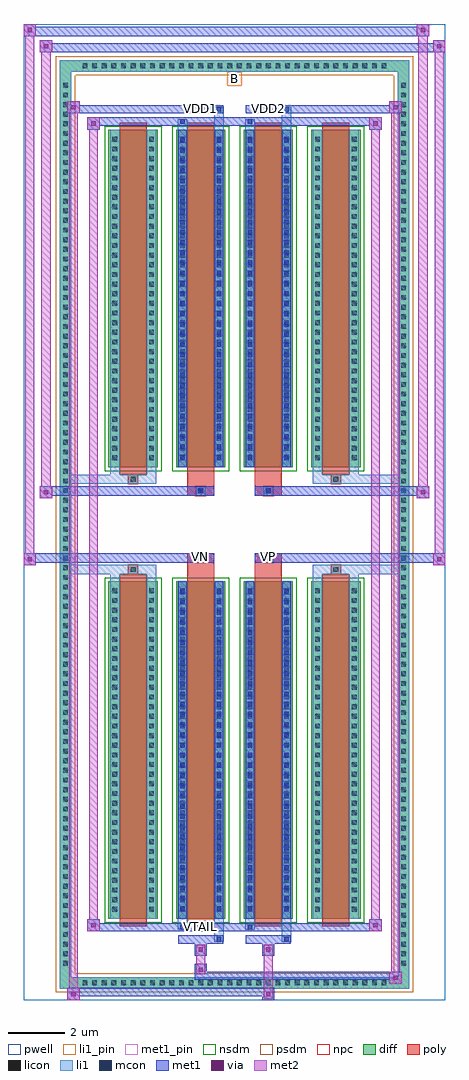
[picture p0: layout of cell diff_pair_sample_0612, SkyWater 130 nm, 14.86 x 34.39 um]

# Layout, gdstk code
import gdstk
lib = gdstk.Library(unit=1e-6, precision=5e-09)
def R(c, l, rs):  # rectangles x0, y0, x1, y1
    for r in rs: c.add(gdstk.rectangle(r[:2], r[2:], *l))
def A(c, l, x, y, w, h, nx, ny, dx, dy):  # array of equal rectangles
    R(c, l, [(x+i*dx, y+j*dy, x+i*dx+w, y+j*dy+h) for i in range(nx) for j in range(ny)])
def P(c, l, *ps):  # polygons
    for p in ps: c.add(gdstk.Polygon(p, *l))
pwell = (64, 44)
diff = (65, 20)
poly = (66, 20)
licon = (66, 44)
li1_pin = (67, 16)
li1 = (67, 20)
mcon = (67, 44)
met1_pin = (68, 16)
met1 = (68, 20)
via = (68, 44)
met2 = (69, 20)
nsdm = (93, 44)
psdm = (94, 20)
npc = (95, 20)

diff_pair_sample_0612 = lib.new_cell('diff_pair_sample_0612')
R(diff_pair_sample_0612, pwell, [(-7.43,-16.76,7.43,17.63), (-4.75,-14.95,-0.01,-0.815), (0.01,-14.95,4.75,-0.815), (-4.75,0.815,-0.01,14.95), (0.01,0.815,4.75,14.95)])
A(diff_pair_sample_0612, diff, -5.475, -16.36, 0.41, 0.41, 32, 2, 0.34, 32.31)
A(diff_pair_sample_0612, diff, -6.16, -15.675, 0.41, 0.41, 1, 92, 0, 0.34)
A(diff_pair_sample_0612, diff, 5.75, -15.675, 0.41, 0.41, 1, 92, 0, 0.34)
A(diff_pair_sample_0612, diff, -4.44, -13.905, 1.74, 11.9, 4, 2, 2.38, 15.91)
R(diff_pair_sample_0612, diff, [(-5.475,-16.36,5.475,-15.95), (-6.16,-15.675,-5.75,15.675), (5.75,-15.675,6.16,15.675), (-5.475,15.95,5.475,16.36)])
P(diff_pair_sample_0612, diff, [(6.16,16.36),(-6.16,16.36),(-6.16,-15.95),(-5.75,-15.95),(-5.75,15.95),(5.75,15.95),(5.75,-15.95),(-5.75,-15.95),(-6.16,-15.95),(-6.16,-16.36),(6.16,-16.36)])
A(diff_pair_sample_0612, poly, -4.05, -14.155, 0.96, 12.4, 4, 2, 2.38, 15.91)
R(diff_pair_sample_0612, poly, [(-3.735,-1.755,-3.405,-1.425), (-3.735,-1.755,-3.405,-1.425), (-1.67,-1.755,-0.71,-1.345), (0.71,-1.755,1.67,-1.345), (3.405,-1.755,3.735,-1.425), (3.405,-1.755,3.735,-1.425), (-1.67,-1.345,-0.71,-1.015), (-1.355,-1.345,-1.025,-1.015), (0.71,-1.345,1.67,-1.015), (1.025,-1.345,1.355,-1.015), (-1.67,1.015,-0.71,1.345), (-1.355,1.015,-1.025,1.345), (0.71,1.015,1.67,1.345), (1.025,1.015,1.355,1.345), (-1.67,1.345,-0.71,1.755), (0.71,1.345,1.67,1.755), (-3.735,1.425,-3.405,1.755), (-3.735,1.425,-3.405,1.755), (3.405,1.425,3.735,1.755), (3.405,1.425,3.735,1.755)])
A(diff_pair_sample_0612, licon, -5.355, -16.24, 0.17, 0.17, 32, 2, 0.34, 32.31)
A(diff_pair_sample_0612, licon, -6.04, -15.555, 0.17, 0.17, 1, 92, 0, 0.34)
A(diff_pair_sample_0612, licon, 5.87, -15.555, 0.17, 0.17, 1, 92, 0, 0.34)
A(diff_pair_sample_0612, licon, -4.3, -13.65, 0.17, 0.17, 1, 34, 0, 0.34)
A(diff_pair_sample_0612, licon, -3.01, -13.65, 0.17, 0.17, 1, 34, 0, 0.34)
A(diff_pair_sample_0612, licon, -1.92, -13.65, 0.17, 0.17, 1, 34, 0, 0.34)
A(diff_pair_sample_0612, licon, -0.63, -13.65, 0.17, 0.17, 1, 34, 0, 0.34)
A(diff_pair_sample_0612, licon, 0.46, -13.65, 0.17, 0.17, 1, 34, 0, 0.34)
A(diff_pair_sample_0612, licon, 1.75, -13.65, 0.17, 0.17, 1, 34, 0, 0.34)
A(diff_pair_sample_0612, licon, 2.84, -13.65, 0.17, 0.17, 1, 34, 0, 0.34)
A(diff_pair_sample_0612, licon, 4.13, -13.65, 0.17, 0.17, 1, 34, 0, 0.34)
A(diff_pair_sample_0612, licon, -4.3, 2.26, 0.17, 0.17, 1, 34, 0, 0.34)
A(diff_pair_sample_0612, licon, -3.01, 2.26, 0.17, 0.17, 1, 34, 0, 0.34)
A(diff_pair_sample_0612, licon, -1.92, 2.26, 0.17, 0.17, 1, 34, 0, 0.34)
A(diff_pair_sample_0612, licon, -0.63, 2.26, 0.17, 0.17, 1, 34, 0, 0.34)
A(diff_pair_sample_0612, licon, 0.46, 2.26, 0.17, 0.17, 1, 34, 0, 0.34)
A(diff_pair_sample_0612, licon, 1.75, 2.26, 0.17, 0.17, 1, 34, 0, 0.34)
A(diff_pair_sample_0612, licon, 2.84, 2.26, 0.17, 0.17, 1, 34, 0, 0.34)
A(diff_pair_sample_0612, licon, 4.13, 2.26, 0.17, 0.17, 1, 34, 0, 0.34)
R(diff_pair_sample_0612, licon, [(-3.655,-1.675,-3.485,-1.505), (3.485,-1.675,3.655,-1.505), (-1.275,-1.265,-1.105,-1.095), (1.105,-1.265,1.275,-1.095), (-1.275,1.095,-1.105,1.265), (1.105,1.095,1.275,1.265), (-3.655,1.505,-3.485,1.675), (3.485,1.505,3.655,1.675)])
R(diff_pair_sample_0612, li1_pin, [(-0.25,15.45,0.25,15.95)])
A(diff_pair_sample_0612, li1, -5.435, -16.32, 0.33, 0.33, 32, 2, 0.34, 32.31)
A(diff_pair_sample_0612, li1, -6.12, -15.635, 0.33, 0.33, 1, 92, 0, 0.34)
A(diff_pair_sample_0612, li1, 5.79, -15.635, 0.33, 0.33, 1, 92, 0, 0.34)
A(diff_pair_sample_0612, li1, -4.38, -13.73, 0.33, 0.33, 1, 34, 0, 0.34)
A(diff_pair_sample_0612, li1, -3.09, -13.73, 0.33, 0.33, 1, 34, 0, 0.34)
A(diff_pair_sample_0612, li1, -2, -13.73, 0.33, 0.33, 1, 34, 0, 0.34)
A(diff_pair_sample_0612, li1, -0.71, -13.73, 0.33, 0.33, 1, 34, 0, 0.34)
A(diff_pair_sample_0612, li1, 0.38, -13.73, 0.33, 0.33, 1, 34, 0, 0.34)
A(diff_pair_sample_0612, li1, 1.67, -13.73, 0.33, 0.33, 1, 34, 0, 0.34)
A(diff_pair_sample_0612, li1, 2.76, -13.73, 0.33, 0.33, 1, 34, 0, 0.34)
A(diff_pair_sample_0612, li1, 4.05, -13.73, 0.33, 0.33, 1, 34, 0, 0.34)
A(diff_pair_sample_0612, li1, -1.92, -13.62, 0.17, 0.17, 1, 32, 0, 0.36)
A(diff_pair_sample_0612, li1, -0.63, -13.62, 0.17, 0.17, 1, 32, 0, 0.36)
A(diff_pair_sample_0612, li1, 0.46, -13.62, 0.17, 0.17, 1, 32, 0, 0.36)
A(diff_pair_sample_0612, li1, 1.75, -13.62, 0.17, 0.17, 1, 32, 0, 0.36)
A(diff_pair_sample_0612, li1, -4.38, 2.18, 0.33, 0.33, 1, 34, 0, 0.34)
A(diff_pair_sample_0612, li1, -3.09, 2.18, 0.33, 0.33, 1, 34, 0, 0.34)
A(diff_pair_sample_0612, li1, -2, 2.18, 0.33, 0.33, 1, 34, 0, 0.34)
A(diff_pair_sample_0612, li1, -0.71, 2.18, 0.33, 0.33, 1, 34, 0, 0.34)
A(diff_pair_sample_0612, li1, 0.38, 2.18, 0.33, 0.33, 1, 34, 0, 0.34)
A(diff_pair_sample_0612, li1, 1.67, 2.18, 0.33, 0.33, 1, 34, 0, 0.34)
A(diff_pair_sample_0612, li1, 2.76, 2.18, 0.33, 0.33, 1, 34, 0, 0.34)
A(diff_pair_sample_0612, li1, 4.05, 2.18, 0.33, 0.33, 1, 34, 0, 0.34)
A(diff_pair_sample_0612, li1, -1.92, 2.29, 0.17, 0.17, 1, 32, 0, 0.36)
A(diff_pair_sample_0612, li1, -0.63, 2.29, 0.17, 0.17, 1, 32, 0, 0.36)
A(diff_pair_sample_0612, li1, 0.46, 2.29, 0.17, 0.17, 1, 32, 0, 0.36)
A(diff_pair_sample_0612, li1, 1.75, 2.29, 0.17, 0.17, 1, 32, 0, 0.36)
R(diff_pair_sample_0612, li1, [(-6.16,-16.36,-5.75,-15.95), (-6.16,-16.36,-5.75,-15.95), (-5.75,-16.36,5.75,-15.95), (5.75,-16.36,6.16,-15.95), (5.75,-16.36,6.16,-15.95), (-6.16,-15.95,-5.75,15.95), (5.75,-15.95,6.16,15.95), (-0.71,-14.71,-0.38,-13.905), (-0.63,-14.71,-0.46,-14.54), (1.67,-14.71,2,-13.905), (1.75,-14.71,1.92,-14.54), (-2,-14.28,-1.67,-13.905), (-1.92,-14.28,-1.75,-14.11), (0.38,-14.28,0.71,-13.905), (0.46,-14.28,0.63,-14.11), (-4.38,-13.905,-4.05,-2.005), (-3.09,-13.905,-2.76,-2.005), (-2,-13.905,-1.67,-2.005), (-0.71,-13.905,-0.38,-2.005), (0.38,-13.905,0.71,-2.005), (1.67,-13.905,2,-2.005), (2.76,-13.905,3.09,-2.005), (4.05,-13.905,4.38,-2.005), (-1.92,-13.62,-1.75,-2.29), (-0.63,-13.62,-0.46,-2.29), (0.46,-13.62,0.63,-2.29), (1.75,-13.62,1.92,-2.29), (-4.38,-2.005,-4.05,-1.425), (-3.09,-2.005,-2.76,-1.425), (2.76,-2.005,3.09,-1.425), (4.05,-2.005,4.38,-1.425), (-6.16,-1.755,-3.735,-1.425), (-4.38,-1.755,-3.735,-1.425), (-3.735,-1.755,-3.405,-1.425), (-3.405,-1.755,-2.76,-1.425), (2.76,-1.755,3.405,-1.425), (3.405,-1.755,3.735,-1.425), (3.405,-1.755,6.16,-1.425), (3.735,-1.755,4.38,-1.425), (-1.355,-1.345,-1.025,-1.015), (1.025,-1.345,1.355,-1.015), (-1.355,1.015,-1.025,1.345), (1.025,1.015,1.355,1.345), (-6.16,1.425,-3.735,1.755), (-4.38,1.425,-3.735,1.755), (-4.38,1.425,-4.05,2.005), (-3.735,1.425,-3.405,1.755), (-3.405,1.425,-2.76,1.755), (-3.09,1.425,-2.76,2.005), (2.76,1.425,3.405,1.755), (2.76,1.425,3.09,2.005), (3.405,1.425,3.735,1.755), (3.405,1.425,6.16,1.755), (3.735,1.425,4.38,1.755), (4.05,1.425,4.38,2.005), (-4.38,2.005,-4.05,13.905), (-3.09,2.005,-2.76,13.905), (-2,2.005,-1.67,13.905), (-0.71,2.005,-0.38,13.905), (0.38,2.005,0.71,13.905), (1.67,2.005,2,13.905), (2.76,2.005,3.09,13.905), (4.05,2.005,4.38,13.905), (-1.92,2.29,-1.75,13.62), (-0.63,2.29,-0.46,13.62), (0.46,2.29,0.63,13.62), (1.75,2.29,1.92,13.62), (-2,13.905,-1.67,14.28), (-0.71,13.905,-0.38,14.71), (0.38,13.905,0.71,14.28), (1.67,13.905,2,14.71), (-1.92,14.11,-1.75,14.28), (0.46,14.11,0.63,14.28), (-0.63,14.54,-0.46,14.71), (1.75,14.54,1.92,14.71), (-6.16,15.95,-5.75,16.36), (-6.16,15.95,-5.75,16.36), (-5.75,15.95,5.75,16.36), (5.75,15.95,6.16,16.36), (5.75,15.95,6.16,16.36)])
A(diff_pair_sample_0612, mcon, -1.92, -13.62, 0.17, 0.17, 1, 32, 0, 0.36)
A(diff_pair_sample_0612, mcon, -0.63, -13.62, 0.17, 0.17, 1, 32, 0, 0.36)
A(diff_pair_sample_0612, mcon, 0.46, -13.62, 0.17, 0.17, 1, 32, 0, 0.36)
A(diff_pair_sample_0612, mcon, 1.75, -13.62, 0.17, 0.17, 1, 32, 0, 0.36)
A(diff_pair_sample_0612, mcon, -1.92, 2.29, 0.17, 0.17, 1, 32, 0, 0.36)
A(diff_pair_sample_0612, mcon, -0.63, 2.29, 0.17, 0.17, 1, 32, 0, 0.36)
A(diff_pair_sample_0612, mcon, 0.46, 2.29, 0.17, 0.17, 1, 32, 0, 0.36)
A(diff_pair_sample_0612, mcon, 1.75, 2.29, 0.17, 0.17, 1, 32, 0, 0.36)
R(diff_pair_sample_0612, mcon, [(-0.63,-14.71,-0.46,-14.54), (1.75,-14.71,1.92,-14.54), (-1.92,-14.28,-1.75,-14.11), (0.46,-14.28,0.63,-14.11), (-1.275,-1.265,-1.105,-1.095), (1.105,-1.265,1.275,-1.095), (-1.275,1.095,-1.105,1.265), (1.105,1.095,1.275,1.265), (-1.92,14.11,-1.75,14.28), (0.46,14.11,0.63,14.28), (-0.63,14.54,-0.46,14.71), (1.75,14.54,1.92,14.71)])
R(diff_pair_sample_0612, met1_pin, [(-1.325,-14.32,-1.055,-14.05), (-1.325,-1.285,-1.055,-1.015), (1.055,-1.285,1.325,-1.015), (-1.325,14.5,-1.055,14.77), (1.055,14.5,1.325,14.77)])
A(diff_pair_sample_0612, met1, -1.98, -13.68, 0.29, 0.29, 1, 32, 0, 0.36)
A(diff_pair_sample_0612, met1, -0.69, -13.68, 0.29, 0.29, 1, 32, 0, 0.36)
A(diff_pair_sample_0612, met1, 0.4, -13.68, 0.29, 0.29, 1, 32, 0, 0.36)
A(diff_pair_sample_0612, met1, 1.69, -13.68, 0.29, 0.29, 1, 32, 0, 0.36)
A(diff_pair_sample_0612, met1, -1.98, 2.23, 0.29, 0.29, 1, 32, 0, 0.36)
A(diff_pair_sample_0612, met1, -0.69, 2.23, 0.29, 0.29, 1, 32, 0, 0.36)
A(diff_pair_sample_0612, met1, 0.4, 2.23, 0.29, 0.29, 1, 32, 0, 0.36)
A(diff_pair_sample_0612, met1, 1.69, 2.23, 0.29, 0.29, 1, 32, 0, 0.36)
R(diff_pair_sample_0612, met1, [(-5.89,-16.76,-5.46,-16.33), (0.975,-16.76,1.405,-16.33), (-5.89,-16.62,1.405,-16.33), (5.46,-16.19,5.89,-15.76), (-1.405,-16.05,5.89,-15.76), (-1.405,-15.91,-0.975,-15.48), (-1.405,-15.2,-0.975,-14.77), (0.975,-15.2,1.405,-14.77), (-1.98,-14.77,-0.4,-14.48), (-0.69,-14.77,-0.4,-14.48), (0.4,-14.77,1.98,-14.48), (1.69,-14.77,1.98,-14.48), (-5.18,-14.34,-4.75,-13.91), (-5.18,-14.34,-1.98,-14.05), (-1.98,-14.34,-1.69,-14.05), (-1.98,-14.34,-0.4,-14.05), (-0.4,-14.34,0.4,-14.05), (0.4,-14.34,0.69,-14.05), (0.4,-14.34,1.98,-14.05), (1.98,-14.34,5.18,-14.05), (4.75,-14.34,5.18,-13.91), (-1.98,-13.905,-1.69,-2.005), (-0.69,-13.905,-0.4,-2.005), (0.4,-13.905,0.69,-2.005), (1.69,-13.905,1.98,-2.005), (-7.43,-1.445,-7,-1.015), (7,-1.445,7.43,-1.015), (-7.43,-1.345,-0.71,-1.015), (-1.67,-1.345,-0.71,-1.015), (0.71,-1.345,1.67,-1.015), (0.71,-1.345,7.43,-1.015), (-1.335,-1.325,-1.045,-1.035), (1.045,-1.325,1.335,-1.035), (-6.86,0.915,-6.43,1.345), (6.43,0.915,6.86,1.345), (-6.86,1.015,-1.67,1.345), (-1.67,1.015,-0.71,1.345), (0.71,1.015,1.67,1.345), (1.67,1.015,6.86,1.345), (-1.335,1.035,-1.045,1.325), (1.045,1.035,1.335,1.325), (-1.98,2.005,-1.69,13.905), (-0.69,2.005,-0.4,13.905), (0.4,2.005,0.69,13.905), (1.69,2.005,1.98,13.905), (-5.18,13.91,-4.75,14.34), (4.75,13.91,5.18,14.34), (-5.18,14.05,-1.98,14.34), (-1.98,14.05,-1.69,14.34), (-1.98,14.05,-0.4,14.34), (-0.4,14.05,0.4,14.34), (0.4,14.05,0.69,14.34), (0.4,14.05,1.98,14.34), (1.98,14.05,5.18,14.34), (-5.89,14.48,-5.46,14.91), (-5.89,14.48,-1.98,14.77), (-1.98,14.48,-0.4,14.77), (-0.69,14.48,-0.4,14.77), (0.4,14.48,1.98,14.77), (1.69,14.48,1.98,14.77), (1.98,14.48,5.89,14.77), (5.46,14.48,5.89,14.91), (-6.86,16.63,-6.43,17.06), (-6.86,16.63,-4.75,16.96), (-4.75,16.63,4.75,16.96), (4.75,16.63,7.43,16.96), (7,16.63,7.43,17.06), (-7.43,17.2,-7,17.63), (-7.43,17.2,-4.75,17.53), (-4.75,17.2,4.75,17.53), (4.75,17.2,6.86,17.53), (6.43,17.2,6.86,17.63)])
R(diff_pair_sample_0612, via, [(-5.75,-16.62,-5.6,-16.47), (1.115,-16.62,1.265,-16.47), (5.6,-16.05,5.75,-15.9), (-1.265,-15.77,-1.115,-15.62), (-1.265,-15.06,-1.115,-14.91), (1.115,-15.06,1.265,-14.91), (-5.04,-14.2,-4.89,-14.05), (4.89,-14.2,5.04,-14.05), (-7.29,-1.305,-7.14,-1.155), (7.14,-1.305,7.29,-1.155), (-6.72,1.055,-6.57,1.205), (6.57,1.055,6.72,1.205), (-5.04,14.05,-4.89,14.2), (4.89,14.05,5.04,14.2), (-5.75,14.62,-5.6,14.77), (5.6,14.62,5.75,14.77), (-6.72,16.77,-6.57,16.92), (7.14,16.77,7.29,16.92), (-7.29,17.34,-7.14,17.49), (6.57,17.34,6.72,17.49)])
R(diff_pair_sample_0612, met2, [(-5.89,-16.76,-5.46,-16.33), (-5.82,-16.76,-5.53,14.91), (-5.53,-16.76,-5.46,-16.33), (-5.84,-16.71,-5.51,-16.38), (1.025,-16.71,1.355,-16.38), (1.025,-16.38,1.355,-15.15), (5.46,-16.19,5.89,-15.76), (5.53,-16.19,5.82,14.91), (5.82,-16.19,5.89,-15.76), (5.51,-16.14,5.84,-15.81), (-1.355,-15.86,-1.025,-15.53), (-1.355,-15.53,-1.025,-15.15), (-1.355,-15.15,-1.025,-14.82), (1.025,-15.15,1.355,-14.82), (-5.18,-14.34,-4.75,-13.91), (-5.11,-14.34,-4.82,14.34), (-4.82,-14.34,-4.75,-13.91), (4.75,-14.34,5.18,-13.91), (4.82,-14.34,5.11,14.34), (5.11,-14.34,5.18,-13.91), (-5.13,-14.29,-4.8,-13.96), (4.8,-14.29,5.13,-13.96), (-7.43,-1.445,-7,-1.015), (-7.38,-1.445,-7.05,17.63), (-7.05,-1.445,-7,-1.015), (7,-1.445,7.43,-1.015), (7.05,-1.445,7.38,17.06), (7.38,-1.445,7.43,-1.015), (-7.38,-1.395,-7.05,-1.065), (7.05,-1.395,7.38,-1.065), (-6.86,0.915,-6.43,1.345), (-6.81,0.915,-6.48,17.06), (-6.48,0.915,-6.43,1.345), (6.43,0.915,6.86,1.345), (6.48,0.915,6.81,17.63), (6.81,0.915,6.86,1.345), (-6.81,0.965,-6.48,1.295), (6.48,0.965,6.81,1.295), (-5.18,13.91,-4.75,14.34), (-4.82,13.91,-4.75,14.34), (4.75,13.91,5.18,14.34), (5.11,13.91,5.18,14.34), (-5.13,13.96,-4.8,14.29), (4.8,13.96,5.13,14.29), (-5.89,14.48,-5.46,14.91), (-5.53,14.48,-5.46,14.91), (5.46,14.48,5.89,14.91), (5.82,14.48,5.89,14.91), (-5.84,14.53,-5.51,14.86), (5.51,14.53,5.84,14.86), (-6.86,16.63,-6.43,17.06), (-6.48,16.63,-6.43,17.06), (7,16.63,7.43,17.06), (7.38,16.63,7.43,17.06), (-6.81,16.68,-6.48,17.01), (7.05,16.68,7.38,17.01), (-7.43,17.2,-7,17.63), (-7.05,17.2,-7,17.63), (6.43,17.2,6.86,17.63), (6.81,17.2,6.86,17.63), (-7.38,17.25,-7.05,17.58), (6.48,17.25,6.81,17.58)])
A(diff_pair_sample_0612, nsdm, -4.57, -14.035, 2, 12.16, 4, 2, 2.38, 15.91)
P(diff_pair_sample_0612, psdm, [(6.29,16.49),(-6.29,16.49),(-6.29,-15.82),(-5.62,-15.82),(-5.62,15.82),(5.62,15.82),(5.62,-15.82),(-5.62,-15.82),(-6.29,-15.82),(-6.29,-16.49),(6.29,-16.49)])
R(diff_pair_sample_0612, npc, [(-3.755,-1.775,-3.385,-1.405), (3.385,-1.775,3.755,-1.405), (-1.375,-1.365,-1.005,-0.995), (1.005,-1.365,1.375,-0.995), (-1.375,0.995,-1.005,1.365), (1.005,0.995,1.375,1.365), (-3.755,1.405,-3.385,1.775), (3.385,1.405,3.755,1.775)])
diff_pair_sample_0612.add(gdstk.Label('VTAIL', (-1.19,-14.185), layer=68, texttype=5))
diff_pair_sample_0612.add(gdstk.Label('VN', (-1.19,-1.15), layer=68, texttype=5))
diff_pair_sample_0612.add(gdstk.Label('VP', (1.19,-1.15), layer=68, texttype=5))
diff_pair_sample_0612.add(gdstk.Label('B', (0,15.7), layer=67, texttype=5))
diff_pair_sample_0612.add(gdstk.Label('VDD2', (1.19,14.635), layer=68, texttype=5))
diff_pair_sample_0612.add(gdstk.Label('VDD1', (-1.19,14.635), layer=68, texttype=5))

lib.write_gds('diff_pair_sample_0612.gds')
